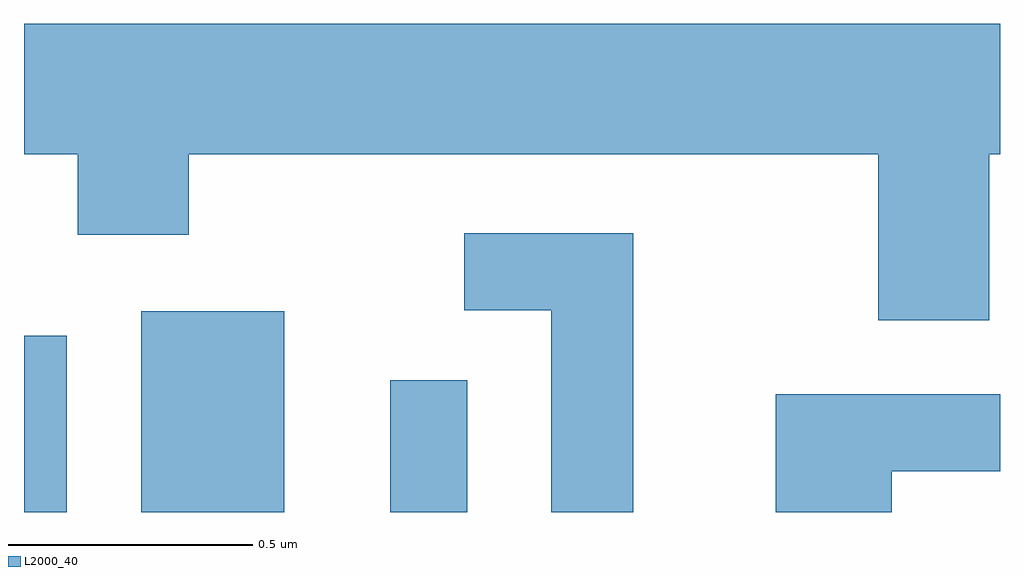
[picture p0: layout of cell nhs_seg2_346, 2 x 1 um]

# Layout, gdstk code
import gdstk
lib = gdstk.Library(unit=1e-6, precision=1e-09)
def R(c, l, rs):  # rectangles x0, y0, x1, y1
    for r in rs: c.add(gdstk.rectangle(r[:2], r[2:], *l))
def P(c, l, *ps):  # polygons
    for p in ps: c.add(gdstk.Polygon(p, *l))
L2000_40 = (2000, 40)

nhs_seg2_346 = lib.new_cell('nhs_seg2_346')
R(nhs_seg2_346, L2000_40, [(187.611,1049.802,187.699,1050.164), (187.851,1049.802,188.144,1050.214), (188.361,1049.802,188.519,1050.073)])
P(nhs_seg2_346, L2000_40, [(189.589,1050.536),(189.611,1050.536),(189.611,1050.804),(187.611,1050.804),(187.611,1050.536),(187.721,1050.536),(187.721,1050.371),(187.949,1050.371),(187.949,1050.536),(189.361,1050.536),(189.361,1050.196),(189.589,1050.196)],
  [(188.859,1050.374),(188.513,1050.374),(188.513,1050.216),(188.691,1050.216),(188.691,1049.802),(188.859,1049.802)],
  [(189.389,1049.886),(189.611,1049.886),(189.611,1050.044),(189.151,1050.044),(189.151,1049.802),(189.389,1049.802)])

lib.write_gds('nhs_seg2_346.gds')
